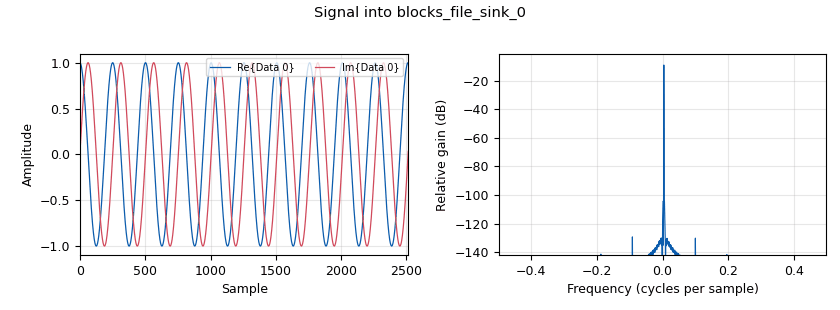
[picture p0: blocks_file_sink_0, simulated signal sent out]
<?xml version='1.0' encoding='utf-8'?>
<?grc format='1' created='3.7.9'?>
<flow_graph>
<block>
<key>options</key>
<param><key>id</key><value>default_test</value></param>
<param><key>category</key><value>Custom</value></param>
<param><key>generate_options</key><value>no_gui</value></param>
<param><key>run_options</key><value>run</value></param>
</block>
<block>
<key>variable</key>
<param><key>id</key><value>downlink_freq</value></param>
<param><key>value</key><value>400e6</value></param>
</block>
<block>
<key>variable</key>
<param><key>id</key><value>downlink_offset</value></param>
<param><key>value</key><value>0</value></param>
</block>
<block>
<key>variable</key>
<param><key>id</key><value>samp_rate</value></param>
<param><key>value</key><value>250e3</value></param>
</block>
<block>
<key>variable</key>
<param><key>id</key><value>uplink_freq</value></param>
<param><key>value</key><value>400e6</value></param>
</block>
<block>
<key>variable</key>
<param><key>id</key><value>uplink_offset</value></param>
<param><key>value</key><value>0</value></param>
</block>
<block>
<key>analog_sig_source_x</key>
<param><key>id</key><value>analog_sig_source_x_0</value></param>
<param><key>amp</key><value>1</value></param>
<param><key>freq</key><value>1000</value></param>
<param><key>offset</key><value>0</value></param>
<param><key>type</key><value>complex</value></param>
<param><key>samp_rate</key><value>samp_rate</value></param>
<param><key>waveform</key><value>analog.GR_COS_WAVE</value></param>
</block>
<block>
<key>blocks_file_sink</key>
<param><key>id</key><value>blocks_file_sink_0</value></param>
<param><key>file</key><value>/tmp/test.dat</value></param>
<param><key>type</key><value>complex</value></param>
</block>
<block>
<key>blocks_null_sink</key>
<param><key>id</key><value>blocks_null_sink_0</value></param>
<param><key>bus_conns</key><value>[[0,],]</value></param>
<param><key>type</key><value>complex</value></param>
</block>
<block>
<key>blocks_throttle</key>
<param><key>id</key><value>blocks_throttle_0</value></param>
<param><key>samples_per_second</key><value>samp_rate</value></param>
<param><key>type</key><value>complex</value></param>
</block>
<block>
<key>blocks_throttle</key>
<param><key>id</key><value>blocks_throttle_0_0</value></param>
<param><key>samples_per_second</key><value>samp_rate</value></param>
<param><key>type</key><value>complex</value></param>
</block>
<block>
<key>freq_xlating_fir_filter_xxx</key>
<param><key>id</key><value>downlink_filter</value></param>
<param><key>center_freq</key><value>downlink_freq</value></param>
<param><key>decim</key><value>1</value></param>
<param><key>samp_rate</key><value>samp_rate</value></param>
<param><key>taps</key><value>1</value></param>
<param><key>type</key><value>ccc</value></param>
</block>
<block>
<key>freq_xlating_fir_filter_xxx</key>
<param><key>id</key><value>uplink_filter</value></param>
<param><key>center_freq</key><value>uplink_freq</value></param>
<param><key>decim</key><value>1</value></param>
<param><key>samp_rate</key><value>samp_rate</value></param>
<param><key>taps</key><value>1</value></param>
<param><key>type</key><value>ccc</value></param>
</block>
<connection><source_block_id>analog_sig_source_x_0</source_block_id><sink_block_id>downlink_filter</sink_block_id><source_key>0</source_key><sink_key>0</sink_key></connection>
<connection><source_block_id>analog_sig_source_x_0</source_block_id><sink_block_id>uplink_filter</sink_block_id><source_key>0</source_key><sink_key>0</sink_key></connection>
<connection><source_block_id>blocks_throttle_0</source_block_id><sink_block_id>blocks_file_sink_0</sink_block_id><source_key>0</source_key><sink_key>0</sink_key></connection>
<connection><source_block_id>blocks_throttle_0_0</source_block_id><sink_block_id>blocks_null_sink_0</sink_block_id><source_key>0</source_key><sink_key>0</sink_key></connection>
<connection><source_block_id>downlink_filter</source_block_id><sink_block_id>blocks_throttle_0</sink_block_id><source_key>0</source_key><sink_key>0</sink_key></connection>
<connection><source_block_id>uplink_filter</source_block_id><sink_block_id>blocks_throttle_0_0</sink_block_id><source_key>0</source_key><sink_key>0</sink_key></connection>
</flow_graph>
